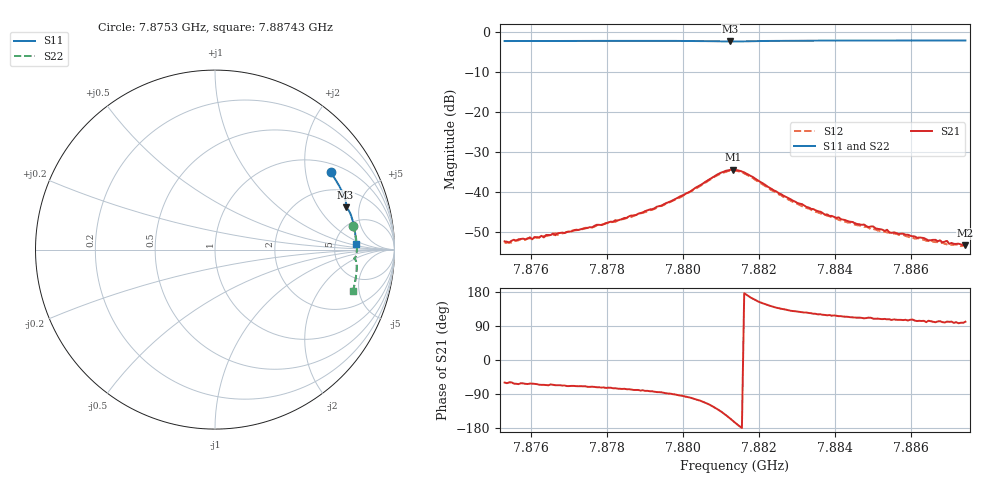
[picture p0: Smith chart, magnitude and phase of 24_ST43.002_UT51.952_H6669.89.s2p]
#  HZ  S  DB  R  50.00
! Rohde & Schwarz Vector Network Analyzer
! Rohde-Schwarz,ZNB20-2Port,1311601062101988,3.16
! Created: UTC 1/12/2023, 6:30:52 PM
! freq[Hz]  db:S11  ang:S11  db:S21  ang:S21  db:S12  ang:S12  db:S22  ang:S22
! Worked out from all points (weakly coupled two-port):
!   201 points, 7.8753 GHz to 7.88743 GHz, reference 50 ohm
!   highest |S21| = -34.38 dB at 7.8813 GHz (marker M1); lowest = -53.3 dB at 7.88743 GHz (marker M2)
!   lowest |S11| = -2.3 dB at 7.88124 GHz (marker M3), VSWR 7.50, Z = 160 + j182 ohm
!   |S11| at or under -10 dB: nowhere
!   |S22| runs from -2.2 to -1.9 dB; largest |S21 - S12| = 0.0013
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7.875297e9  -2.22 33.8  -52.32 -59.5  -52.66 -60.9  -2.13 9.8
7.875419e9  -2.22 33.4  -52.61 -59.1  -52.56 -66.6  -2.12 9.6
7.875965e9  -2.21 31.9  -51.30 -62.2  -51.58 -67.5  -2.11 8.3
7.876025e9  -2.21 31.7  -51.80 -62.4  -51.78 -66.2  -2.11 8.1
7.87736e9  -2.19 28.1  -49.13 -69.3  -49.21 -74.2  -2.07 5.0
7.878633e9  -2.18 24.6  -45.85 -77.9  -46.26 -81.7  -2.05 2.1
7.879361e9  -2.17 22.6  -43.51 -84.9  -43.53 -88.8  -2.04 0.3
7.879907e9  -2.19 21.0  -41.11 -93.7  -41.39 -97.3  -2.05 -1.0
7.880938e9  -2.29 18.3  -35.41 -132.1  -35.59 -136.0  -2.15 -3.3
7.881242e9  -2.33 17.9  -34.44 -155.0  -34.67 -158.6  -2.19 -3.5
7.881302e9  -2.33 17.9  -34.38 -159.9  -34.62 -163.5  -2.19 -3.6
7.881363e9  -2.33 17.9  -34.38 -164.9  -34.67 -168.4  -2.18 -3.6
7.881605e9  -2.30 17.6  -35.07 176.0  -35.32 172.6  -2.16 -3.8
7.882515e9  -2.16 15.3  -40.29 136.7  -40.55 133.3  -2.03 -5.5
7.883425e9  -2.13 12.8  -44.25 122.1  -44.69 119.2  -1.97 -7.7
7.883728e9  -2.12 12.0  -45.65 118.9  -45.63 116.9  -1.96 -8.4
7.884941e9  -2.10 8.7  -48.57 111.4  -49.34 106.8  -1.94 -11.2
7.885366e9  -2.09 7.6  -49.42 107.3  -50.08 105.2  -1.93 -12.1
7.885427e9  -2.09 7.5  -50.09 107.5  -50.07 105.4  -1.94 -12.2
7.886458e9  -2.08 4.8  -52.07 103.6  -52.22 100.2  -1.92 -14.5
7.886761e9  -2.08 4.0  -52.05 102.3  -52.86 100.0  -1.92 -15.1
7.887428e9  -2.07 2.2  -53.33 101.0  -53.42 95.3  -1.91 -16.5
